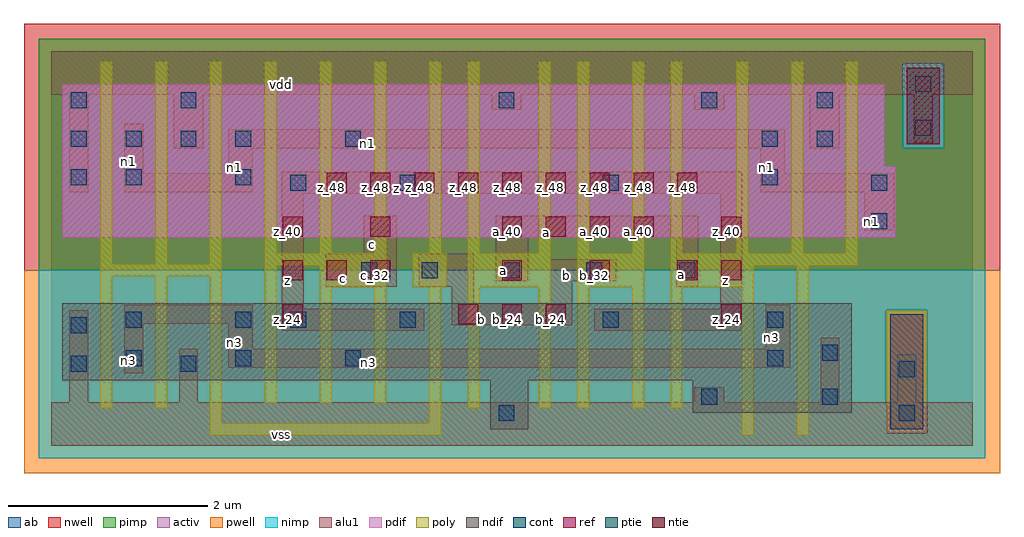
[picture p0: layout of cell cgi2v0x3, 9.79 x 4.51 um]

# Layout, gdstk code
import gdstk
lib = gdstk.Library(unit=1e-6, precision=2.5e-09)
def R(c, l, rs):  # rectangles x0, y0, x1, y1
    for r in rs: c.add(gdstk.rectangle(r[:2], r[2:], *l))
def A(c, l, x, y, w, h, nx, ny, dx, dy):  # array of equal rectangles
    R(c, l, [(x+i*dx, y+j*dy, x+i*dx+w, y+j*dy+h) for i in range(nx) for j in range(ny)])
ndif = (3, 0)
pdif = (4, 0)
ntie = (5, 0)
ptie = (6, 0)
ref = (24, 0)
cont = (25, 0)
pwell = (41, 0)
nwell = (42, 0)
activ = (43, 0)
pimp = (44, 0)
nimp = (45, 0)
poly = (46, 0)
alu1 = (49, 0)
ab = (63, 0)

cgi2v0x3 = lib.new_cell('cgi2v0x3')
R(cgi2v0x3, ndif, [(4.4,0.165,4.785,0.66), (6.435,0.33,8.03,0.66), (0.11,0.66,8.03,1.43)])
R(cgi2v0x3, pdif, [(0.11,2.09,8.47,2.805), (0.11,2.805,8.36,3.63)])
R(cgi2v0x3, ntie, [(8.58,3.025,8.91,3.795)])
R(cgi2v0x3, ptie, [(8.415,0.165,8.745,1.32)])
A(cgi2v0x3, ref, 4.08, 1.22, 0.2, 0.2, 3, 1, 0.44, 0)
A(cgi2v0x3, ref, 6.72, 1.22, 0.2, 0.2, 1, 3, 0, 0.44)
A(cgi2v0x3, ref, 2.32, 1.66, 0.2, 0.2, 3, 1, 0.44, 0)
A(cgi2v0x3, ref, 4.52, 1.66, 0.2, 0.2, 3, 1, 0.88, 0)
A(cgi2v0x3, ref, 4.52, 2.1, 0.2, 0.2, 4, 1, 0.44, 0)
A(cgi2v0x3, ref, 2.76, 2.54, 0.2, 0.2, 9, 1, 0.44, 0)
R(cgi2v0x3, ref, [(2.32,1.22,2.52,1.42), (2.32,2.1,2.52,2.3), (3.2,2.1,3.4,2.3)])
A(cgi2v0x3, cont, 0.745, 0.8, 0.16, 0.16, 3, 1, 1.1, 0)
A(cgi2v0x3, cont, 3.715, 1.68, 0.16, 0.16, 3, 1, 0.825, 0)
A(cgi2v0x3, cont, 0.195, 3, 0.16, 0.16, 4, 1, 0.55, 0)
R(cgi2v0x3, cont, [(4.485,0.25,4.645,0.41), (8.5,0.25,8.66,0.41), (6.52,0.415,6.68,0.575), (7.73,0.415,7.89,0.575), (8.5,0.69,8.66,0.85), (0.195,0.745,0.355,0.905), (1.295,0.745,1.455,0.905), (7.18,0.8,7.34,0.96), (7.73,0.855,7.89,1.015), (0.195,1.13,0.355,1.29), (0.745,1.185,0.905,1.345), (1.845,1.185,2.005,1.345), (2.395,1.185,2.555,1.345), (3.495,1.185,3.655,1.345), (5.53,1.185,5.69,1.345), (7.18,1.185,7.34,1.345), (3.11,1.68,3.27,1.84), (6.3,1.68,6.46,1.84), (8.225,2.175,8.385,2.335), (2.395,2.56,2.555,2.72), (3.495,2.56,3.655,2.72), (5.53,2.56,5.69,2.72), (8.225,2.56,8.385,2.72), (0.195,2.615,0.355,2.775), (0.745,2.615,0.905,2.775), (1.845,2.615,2.005,2.775), (7.125,2.615,7.285,2.775), (2.945,3,3.105,3.16), (7.125,3,7.285,3.16), (7.675,3,7.835,3.16), (8.665,3.11,8.825,3.27), (0.195,3.385,0.355,3.545), (1.295,3.385,1.455,3.545), (4.485,3.385,4.645,3.545), (6.52,3.385,6.68,3.545), (7.675,3.385,7.835,3.545), (8.665,3.55,8.825,3.71)])
R(cgi2v0x3, pwell, [(-0.275,-0.275,9.515,1.76)])
R(cgi2v0x3, nwell, [(-0.275,1.76,9.515,4.235)])
R(cgi2v0x3, activ, [(4.4,0.165,4.785,0.66), (8.415,0.165,8.745,1.32), (6.435,0.33,8.03,0.66), (0.11,0.66,8.03,1.43), (0.11,2.09,8.47,2.805), (0.11,2.805,8.36,3.63), (8.58,3.025,8.91,3.795)])
R(cgi2v0x3, pimp, [(8.375,0.125,8.785,1.36), (-0.125,1.76,9.365,2.985), (-0.125,2.985,8.54,3.835), (8.95,2.985,9.365,3.835), (-0.125,3.835,9.365,4.085)])
R(cgi2v0x3, nimp, [(-0.125,-0.125,9.365,0.125), (-0.125,0.125,8.375,1.36), (8.785,0.125,9.365,1.36), (-0.125,1.36,9.365,1.76), (8.54,2.985,8.95,3.835)])
A(cgi2v0x3, poly, 0.49, 1.82, 0.12, 2.035, 3, 1, 0.55, 0)
A(cgi2v0x3, poly, 2.14, 1.93, 0.12, 1.925, 4, 1, 0.55, 0)
A(cgi2v0x3, poly, 6.87, 1.93, 0.12, 1.925, 3, 1, 0.55, 0)
R(cgi2v0x3, poly, [(1.59,0.105,3.91,0.225), (6.925,0.105,7.045,1.59), (7.475,0.105,7.595,1.81), (1.59,0.225,1.71,1.7), (3.79,0.225,3.91,1.59), (0.49,0.38,0.61,1.7), (1.04,0.38,1.16,1.7), (4.175,0.38,4.295,1.59), (4.89,0.38,5.01,1.59), (5.275,0.38,5.395,1.59), (5.825,0.38,5.945,1.59), (6.21,0.38,6.33,1.59), (2.14,0.435,2.26,1.81), (2.69,0.435,2.81,1.59), (3.24,0.435,3.36,1.59), (2.69,1.59,3.36,1.81), (3.625,1.59,3.965,1.93), (4.175,1.59,5.01,1.93), (5.275,1.59,5.945,1.93), (6.21,1.59,7.045,1.81), (0.49,1.7,1.71,1.82), (2.14,1.81,3.36,1.93), (6.21,1.81,8.09,1.93), (4.175,1.93,4.295,3.855), (4.89,1.93,5.01,3.855), (5.275,1.93,5.395,3.855), (5.825,1.93,5.945,3.855), (6.21,1.93,6.33,3.855)])
R(cgi2v0x3, alu1, [(0,0,9.24,0.44), (0.18,0.44,0.37,1.36), (1.28,0.44,1.47,0.975), (6.45,0.44,6.75,0.59), (7.715,0.44,7.905,1.085), (8.485,0.44,8.675,0.92), (0.73,0.73,0.92,1.225), (1.775,0.785,7.41,0.975), (1.775,0.975,2.02,1.225), (7.165,0.975,7.41,1.415), (2.31,1.155,3.74,1.375), (5.445,1.155,6.93,1.375), (4.015,1.21,5.225,1.43), (0.73,1.225,2.02,1.415), (2.31,1.375,2.53,2.53), (6.71,1.375,6.93,2.53), (4.015,1.43,4.235,1.595), (5.005,1.43,5.225,1.65), (2.75,1.595,3.465,1.925), (3.685,1.595,4.235,1.925), (6.27,1.595,6.49,2.09), (4.455,1.65,4.785,2.09), (5.005,1.65,5.665,1.87), (3.135,1.925,3.465,2.31), (4.455,2.09,6.49,2.31), (8.155,2.16,8.455,2.545), (2.31,2.53,6.93,2.75), (0.18,2.545,0.37,3.52), (0.73,2.545,2.02,2.735), (7.11,2.545,8.455,2.735), (0.73,2.735,0.92,3.23), (1.775,2.735,2.02,2.985), (7.11,2.735,7.355,2.985), (1.225,2.985,1.525,3.52), (1.775,2.985,7.355,3.175), (7.605,2.985,7.905,3.52), (8.65,3.04,8.84,3.52), (4.415,3.37,4.715,3.52), (6.45,3.37,6.75,3.52), (0,3.52,9.24,3.96)])
R(cgi2v0x3, ab, [(0,0,9.24,3.96)])
cgi2v0x3.add(gdstk.Label('vss', (2.31,0.11), layer=49, texttype=0))
cgi2v0x3.add(gdstk.Label('n3', (3.1825,0.8325), layer=49, texttype=0))
cgi2v0x3.add(gdstk.Label('n3', (7.225,1.085), layer=49, texttype=0))
cgi2v0x3.add(gdstk.Label('n1', (8.23,2.255), layer=49, texttype=0))
cgi2v0x3.add(gdstk.Label('z', (6.765,1.6625), layer=49, texttype=0))
cgi2v0x3.add(gdstk.Label('b', (4.3175,1.265), layer=49, texttype=0))
cgi2v0x3.add(gdstk.Label('a', (6.325,1.7175), layer=49, texttype=0))
cgi2v0x3.add(gdstk.Label('b', (5.17,1.705), layer=49, texttype=0))
cgi2v0x3.add(gdstk.Label('a', (4.5375,1.76), layer=49, texttype=0))
cgi2v0x3.add(gdstk.Label('c', (2.9275,1.6775), layer=49, texttype=0))
cgi2v0x3.add(gdstk.Label('a', (4.9625,2.145), layer=49, texttype=0))
cgi2v0x3.add(gdstk.Label('c', (3.2175,2.02), layer=49, texttype=0))
cgi2v0x3.add(gdstk.Label('z', (2.365,1.6625), layer=49, texttype=0))
cgi2v0x3.add(gdstk.Label('n3', (1.835,1.0375), layer=49, texttype=0))
cgi2v0x3.add(gdstk.Label('n3', (0.7775,0.8525), layer=49, texttype=0))
cgi2v0x3.add(gdstk.Label('n1', (7.17,2.7975), layer=49, texttype=0))
cgi2v0x3.add(gdstk.Label('z', (3.465,2.585), layer=49, texttype=0))
cgi2v0x3.add(gdstk.Label('n1', (1.835,2.7975), layer=49, texttype=0))
cgi2v0x3.add(gdstk.Label('n1', (3.17,3.0325), layer=49, texttype=0))
cgi2v0x3.add(gdstk.Label('n1', (0.7775,2.8575), layer=49, texttype=0))
cgi2v0x3.add(gdstk.Label('vdd', (2.31,3.63), layer=49, texttype=0))
cgi2v0x3.add(gdstk.Label('b_32', (5.45,1.71), layer=24, texttype=0))
cgi2v0x3.add(gdstk.Label('a_40', (5.45,2.15), layer=24, texttype=0))
cgi2v0x3.add(gdstk.Label('z_48', (5.45,2.59), layer=24, texttype=0))
cgi2v0x3.add(gdstk.Label('a_40', (5.89,2.15), layer=24, texttype=0))
cgi2v0x3.add(gdstk.Label('z_48', (5.89,2.59), layer=24, texttype=0))
cgi2v0x3.add(gdstk.Label('a_32', (6.33,1.71), layer=24, texttype=0))
cgi2v0x3.add(gdstk.Label('z_48', (6.33,2.59), layer=24, texttype=0))
cgi2v0x3.add(gdstk.Label('z_24', (6.77,1.27), layer=24, texttype=0))
cgi2v0x3.add(gdstk.Label('z_32', (6.77,1.71), layer=24, texttype=0))
cgi2v0x3.add(gdstk.Label('z_40', (6.77,2.15), layer=24, texttype=0))
cgi2v0x3.add(gdstk.Label('z_24', (2.37,1.27), layer=24, texttype=0))
cgi2v0x3.add(gdstk.Label('z_32', (2.37,1.71), layer=24, texttype=0))
cgi2v0x3.add(gdstk.Label('z_40', (2.37,2.15), layer=24, texttype=0))
cgi2v0x3.add(gdstk.Label('c_32', (2.81,1.71), layer=24, texttype=0))
cgi2v0x3.add(gdstk.Label('z_48', (2.81,2.59), layer=24, texttype=0))
cgi2v0x3.add(gdstk.Label('c_32', (3.25,1.71), layer=24, texttype=0))
cgi2v0x3.add(gdstk.Label('c_40', (3.25,2.15), layer=24, texttype=0))
cgi2v0x3.add(gdstk.Label('z_48', (3.25,2.59), layer=24, texttype=0))
cgi2v0x3.add(gdstk.Label('z_48', (3.69,2.59), layer=24, texttype=0))
cgi2v0x3.add(gdstk.Label('b_24', (4.13,1.27), layer=24, texttype=0))
cgi2v0x3.add(gdstk.Label('z_48', (4.13,2.59), layer=24, texttype=0))
cgi2v0x3.add(gdstk.Label('b_24', (4.57,1.27), layer=24, texttype=0))
cgi2v0x3.add(gdstk.Label('a_32', (4.57,1.71), layer=24, texttype=0))
cgi2v0x3.add(gdstk.Label('a_40', (4.57,2.15), layer=24, texttype=0))
cgi2v0x3.add(gdstk.Label('z_48', (4.57,2.59), layer=24, texttype=0))
cgi2v0x3.add(gdstk.Label('b_24', (5.01,1.27), layer=24, texttype=0))
cgi2v0x3.add(gdstk.Label('a_40', (5.01,2.15), layer=24, texttype=0))
cgi2v0x3.add(gdstk.Label('z_48', (5.01,2.59), layer=24, texttype=0))

lib.write_gds('cgi2v0x3.gds')
